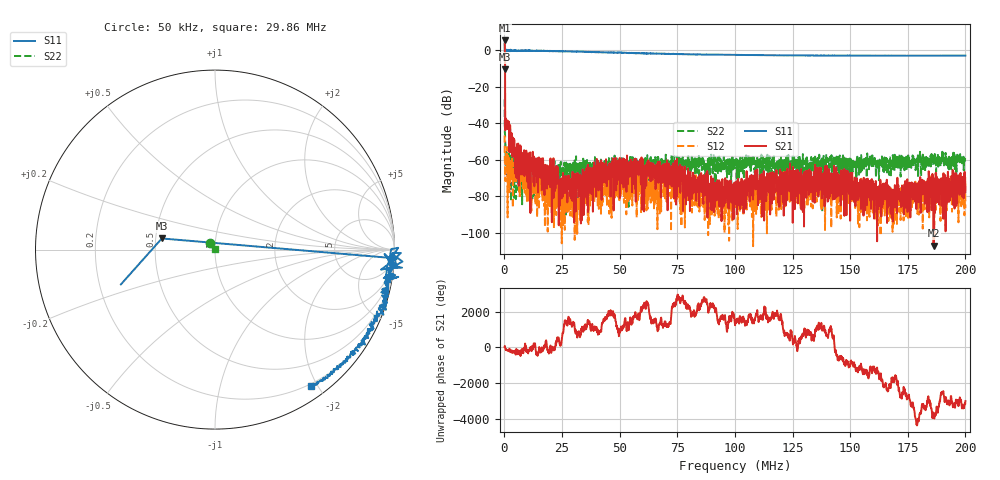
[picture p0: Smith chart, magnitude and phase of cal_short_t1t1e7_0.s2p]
! 26-Feb-26 1:38:27 PM
! E:\VNA_MEASUREMENTS\CAL_S11\CAL_SHORT_T1T1E7_0.S2P
! CHANNEL.1
! TR.MEASUREMENT
! CORRECTED.DATA
# GHZ S RI R 50.0
! FREQ.GHZ  S11RE  S11IM  S21RE  S21IM  S12RE  S12IM  S22RE  S22IM
!; PortSelection: Port_12
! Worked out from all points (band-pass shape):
!   2000 points, 50 kHz to 200 MHz, reference 50 ohm
!   highest |S21| = 5.44 dB at 50 kHz (marker M1); lowest = -107.1 dB at 186.2 MHz (marker M2)
!   |S21| within 3 dB of the highest: start of sweep to 169 kHz
!   lowest |S11| = -10.4 dB at 250 kHz (marker M3), VSWR 1.87, Z = 27 + j3.69 ohm
!   |S11| at or under -10 dB: 242.9 kHz to 253.7 kHz (10.77 kHz wide, 4.34 % of centre)
!   |S22| runs from -90.1 to -26.9 dB; largest |S21 - S12| = 1.9
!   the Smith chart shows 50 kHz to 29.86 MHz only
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5e-05  1.488 0.3249  1.639 0.9034  -0.000999 0.00456  -0.0284 0.0353
0.00025005  -0.2962 0.0621  0.2418 0.1909  -0.000344 0.000249  0.00124 -0.00462
0.001350325  0.9715 -0.0588  -0.00704 -0.000822  -1.78e-05 1.95e-05  -0.000271 -0.000496
0.005451351  0.962 -0.1448  0.00201 -0.000794  0.000332 0.0004  0.000732 1.84e-05
0.008752176  0.9449 -0.2631  0.000771 -0.000108  6.16e-05 -0.00011  -6.26e-05 -0.000565
0.01035258  0.9518 -0.336  -0.000379 -0.000188  -0.000233 -0.000233  0.000497 0.000272
0.01575393  0.8454 -0.4678  -0.000411 -0.000226  0.000191 0.000271  -0.000117 0.000161
0.02455613  0.6647 -0.6729  -0.000197 -8.34e-05  6.99e-05 8.68e-05  0.000497 0.000147
0.03345835  0.4511 -0.7978  -1.4e-05 -1.66e-05  7.01e-05 -6.5e-06  0.000639 -3.6e-06
0.04626156  0.1385 -0.8598  -0.000148 0.000763  0.000202 -7.69e-05  0.000316 0.000471
0.05056263  0.0558 -0.8555  -2.96e-05 0.000301  -0.000436 -0.000207  0.000562 0.000385
0.05266316  0.0121 -0.8471  3.13e-05 -0.000211  7.81e-05 -0.000218  0.000474 0.000196
0.06676668  -0.2538 -0.7804  -0.00015 -0.00064  0.000124 -9.5e-05  0.000588 0.000569
0.08987246  -0.5305 -0.5516  -5.45e-05 0.000151  5.61e-05 -2.08e-05  0.000816 0.000433
0.100075  -0.6076 -0.4476  -0.000168 7.36e-05  -0.000105 1.04e-05  0.000693 0.000725
0.1088772  -0.6529 -0.3589  -0.000169 -0.000483  4.82e-05 -3.16e-05  2.7e-06 0.000454
0.1127782  -0.6711 -0.3138  -6.52e-05 0.000119  6.59e-05 -0.000256  0.000593 0.00082
0.1333833  -0.7175 -0.1163  -0.000253 -4.41e-05  -0.000242 -0.000172  0.000262 0.000847
0.1356839  -0.7157 -0.0902  8.47e-05 0.000218  0.000111 0.000248  0.000407 0.000351
0.1666917  -0.697 0.1656  -3.1e-06 -8.93e-05  -4.57e-05 -4.64e-05  0.00045 0.000548
0.1861965  -0.6504 0.3039  -4.3e-06 1.1e-06  -2.44e-05 -0.00015  0.000665 0.000519
0.2  -0.6062 0.3856  -2.94e-05 -0.000124  4.12e-05 2.35e-05  0.00048 0.000949
